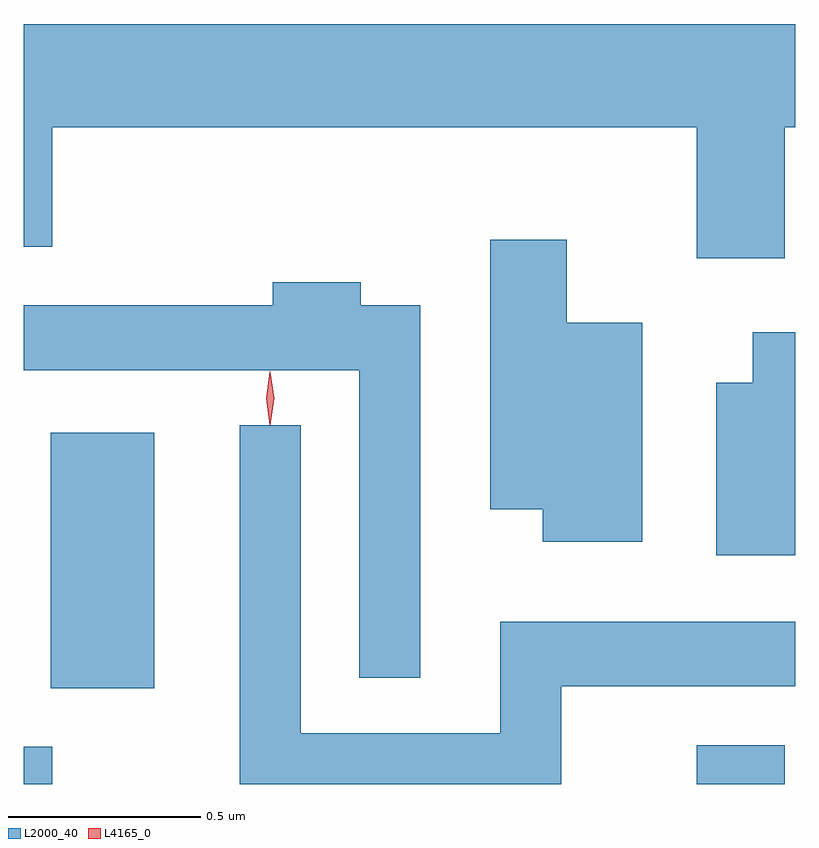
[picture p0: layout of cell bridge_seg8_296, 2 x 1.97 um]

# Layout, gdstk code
import gdstk
lib = gdstk.Library(unit=1e-6, precision=1e-09)
def R(c, l, rs):  # rectangles x0, y0, x1, y1
    for r in rs: c.add(gdstk.rectangle(r[:2], r[2:], *l))
def P(c, l, *ps):  # polygons
    for p in ps: c.add(gdstk.Polygon(p, *l))
L2000_40 = (2000, 40)
L4165_0 = (4165, 0)

bridge_seg8_296 = lib.new_cell('bridge_seg8_296')
R(bridge_seg8_296, L2000_40, [(1362.566,1808.073,1362.639,1808.169), (1364.311,1808.073,1364.539,1808.174), (1362.636,1808.321,1362.904,1808.984)])
P(bridge_seg8_296, L2000_40, [(1364.539,1809.776),(1364.566,1809.776),(1364.566,1810.044),(1362.566,1810.044),(1362.566,1809.466),(1362.639,1809.466),(1362.639,1809.776),(1364.311,1809.776),(1364.311,1809.436),(1364.539,1809.436)],
  [(1364.169,1809.269),(1363.974,1809.269),(1363.974,1809.484),(1363.776,1809.484),(1363.776,1808.786),(1363.911,1808.786),(1363.911,1808.701),(1364.169,1808.701)],
  [(1363.594,1809.314),(1363.439,1809.314),(1363.439,1809.374),(1363.211,1809.374),(1363.211,1809.314),(1362.566,1809.314),(1362.566,1809.146),(1363.436,1809.146),(1363.436,1808.348),(1363.594,1808.348)],
  [(1364.566,1809.244),(1364.456,1809.244),(1364.456,1809.114),(1364.361,1809.114),(1364.361,1808.666),(1364.566,1808.666)],
  [(1363.959,1808.326),(1364.566,1808.326),(1364.566,1808.494),(1363.801,1808.494),(1363.801,1808.204),(1363.284,1808.204),(1363.284,1809.003),(1363.126,1809.003),(1363.126,1808.073),(1363.959,1808.073)])
P(bridge_seg8_296, L4165_0, [(1363.204,1809.007),(1363.204,1809.007),(1363.194,1809.074),(1363.204,1809.14),(1363.204,1809.14),(1363.205,1809.14),(1363.214,1809.074),(1363.205,1809.007)],
  [(1363.205,1809.003),(1363.204,1809.004),(1363.195,1809.073),(1363.204,1809.142),(1363.205,1809.143),(1363.205,1809.142),(1363.215,1809.073),(1363.205,1809.004)])

lib.write_gds('bridge_seg8_296.gds')
